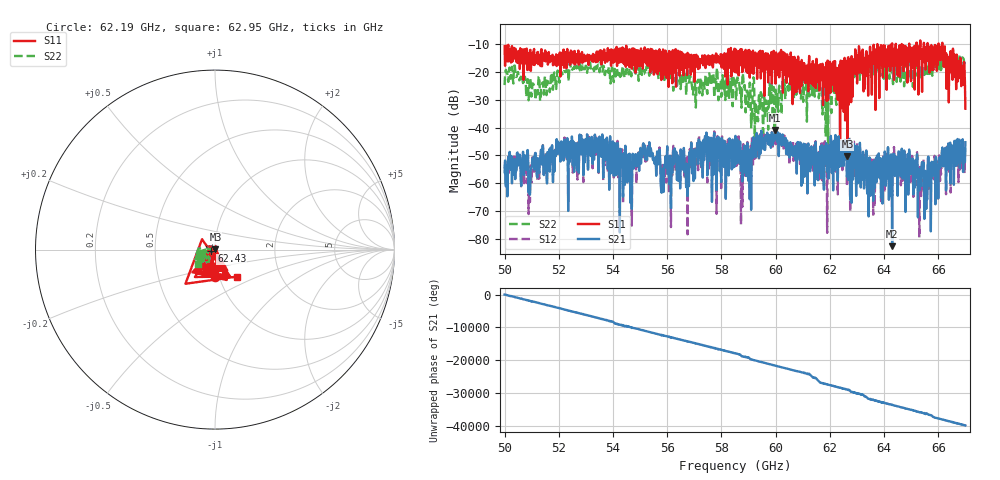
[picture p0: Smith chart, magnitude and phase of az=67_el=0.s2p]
!Created with skrf (http://scikit-rf.org).
# GHz S RI R 50.0
!freq ReS11 ImS11 ReS21 ImS21 ReS12 ImS12 ReS22 ImS22
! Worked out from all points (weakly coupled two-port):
!   1001 points, 50 GHz to 67 GHz, reference 50 ohm
!   highest |S21| = -40.85 dB at 59.98 GHz (marker M1); lowest = -82.5 dB at 64.3 GHz (marker M2)
!   lowest |S11| = -50.3 dB at 62.65 GHz (marker M3), VSWR 1.01, Z = 50.2 + j0.197 ohm
!   |S11| at or under -10 dB: start of sweep to 64.3 GHz; 64.3 GHz to 64.93 GHz (628.5 MHz wide, 0.973 % of centre); 66.15 GHz to end of sweep (the widest 3 of 9)
!   |S22| runs from -46.9 to -13.9 dB; largest |S21 - S12| = 0.0022
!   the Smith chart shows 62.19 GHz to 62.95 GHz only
!   S11 on the Smith chart (normalised r, x): 62.19 GHz: 0.96, -0.30; 62.43 GHz: 0.96, -0.02; 62.95 GHz: 1.22, -0.38
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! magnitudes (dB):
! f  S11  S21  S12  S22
! 50 GHz  -11.0  -56.0  -54.6  -24.8
! 51.14 GHz  -14.0  -49.1  -48.8  -30.1
! 52.84 GHz  -15.1  -48.7  -48.8  -19.4
! 54.61 GHz  -18.4  -49.4  -49.5  -18.9
! 55.08 GHz  -12.7  -50.0  -50.4  -19.6
! 55.68 GHz  -14.5  -53.2  -51.9  -22.7
! 55.85 GHz  -12.1  -56.3  -59.2  -17.5
! 58.5 GHz  -20.1  -49.9  -50.6  -24.1
! 59.01 GHz  -14.8  -49.6  -50.9  -32.6
! 59.98 GHz  -15.0  -40.8  -41.0  -27.2
! 61.34 GHz  -24.4  -52.4  -54.1  -25.7
! 62.19 GHz  -16.2  -47.1  -48.1  -21.9
! 62.43 GHz  -33.1  -44.9  -44.6  -28.5
! 62.65 GHz  -50.3  -50.5  -49.6  -23.8
! 62.95 GHz  -14.2  -51.6  -49.5  -18.2
! 63.52 GHz  -18.7  -54.2  -53.4  -21.9
! 64.18 GHz  -18.1  -65.9  -59.4  -18.6
! 64.3 GHz  -9.8  -82.5  -64.7  -16.8
! 65.52 GHz  -12.3  -55.5  -59.4  -18.4
! 66.08 GHz  -16.0  -50.6  -53.4  -15.5
! 66.9 GHz  -17.9  -44.2  -46.3  -14.9
! 67 GHz  -33.3  -45.3  -46.2  -15.8
